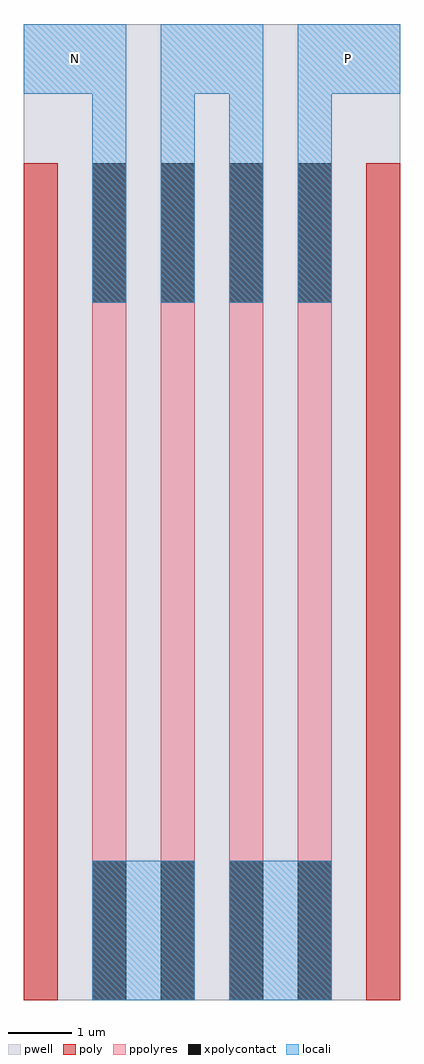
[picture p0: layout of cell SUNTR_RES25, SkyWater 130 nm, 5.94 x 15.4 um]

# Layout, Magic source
magic
tech sky130A
magscale 1 2
<< ppolyres >>
rect 162 -110 270 110
rect 378 -110 486 110
rect 594 -110 702 110
rect 810 -110 918 110
rect 162 110 270 330
rect 378 110 486 330
rect 594 110 702 330
rect 810 110 918 330
rect 162 330 270 550
rect 378 330 486 550
rect 594 330 702 550
rect 810 330 918 550
rect 162 550 270 770
rect 378 550 486 770
rect 594 550 702 770
rect 810 550 918 770
rect 162 770 270 990
rect 378 770 486 990
rect 594 770 702 990
rect 810 770 918 990
rect 162 990 270 1210
rect 378 990 486 1210
rect 594 990 702 1210
rect 810 990 918 1210
rect 162 1210 270 1430
rect 378 1210 486 1430
rect 594 1210 702 1430
rect 810 1210 918 1430
rect 162 1430 270 1650
rect 378 1430 486 1650
rect 594 1430 702 1650
rect 810 1430 918 1650
rect 162 1650 270 1870
rect 378 1650 486 1870
rect 594 1650 702 1870
rect 810 1650 918 1870
rect 162 1870 270 2090
rect 378 1870 486 2090
rect 594 1870 702 2090
rect 810 1870 918 2090
rect 162 2090 270 2310
rect 378 2090 486 2310
rect 594 2090 702 2310
rect 810 2090 918 2310
rect 162 2310 270 2530
rect 378 2310 486 2530
rect 594 2310 702 2530
rect 810 2310 918 2530
<< poly >>
rect -54 -110 54 110
rect 1026 -110 1134 110
rect -54 110 54 330
rect 1026 110 1134 330
rect -54 330 54 550
rect 1026 330 1134 550
rect -54 550 54 770
rect 1026 550 1134 770
rect -54 770 54 990
rect 1026 770 1134 990
rect -54 990 54 1210
rect 1026 990 1134 1210
rect -54 1210 54 1430
rect 1026 1210 1134 1430
rect -54 1430 54 1650
rect 1026 1430 1134 1650
rect -54 1650 54 1870
rect 1026 1650 1134 1870
rect -54 1870 54 2090
rect 1026 1870 1134 2090
rect -54 2090 54 2310
rect 1026 2090 1134 2310
rect -54 2310 54 2530
rect 1026 2310 1134 2530
<< xpolycontact >>
rect 162 -110 270 110
rect 378 -110 486 110
rect 594 -110 702 110
rect 810 -110 918 110
rect 162 110 270 330
rect 378 110 486 330
rect 594 110 702 330
rect 810 110 918 330
rect 162 2090 270 2310
rect 378 2090 486 2310
rect 594 2090 702 2310
rect 810 2090 918 2310
rect 162 2310 270 2530
rect 378 2310 486 2530
rect 594 2310 702 2530
rect 810 2310 918 2530
<< locali >>
rect 162 -110 486 110
rect 594 -110 918 110
rect 162 110 486 330
rect 594 110 918 330
rect 162 2090 270 2310
rect 378 2090 486 2310
rect 594 2090 702 2310
rect 810 2090 918 2310
rect 162 2310 270 2530
rect 378 2310 486 2530
rect 594 2310 702 2530
rect 810 2310 918 2530
rect 162 2530 270 2750
rect 378 2530 486 2750
rect 594 2530 702 2750
rect 810 2530 918 2750
rect -54 2750 270 2970
rect -54 2750 270 2970
rect 378 2750 702 2970
rect 810 2750 1134 2970
rect 810 2750 1134 2970
<< pwell >>
rect -54 -110 1134 2970
<< labels >>
flabel locali s -54 2750 270 2970 0 FreeSans 400 0 0 0 N
port 1 nsew
flabel locali s 810 2750 1134 2970 0 FreeSans 400 0 0 0 P
port 2 nsew
<< end >>
